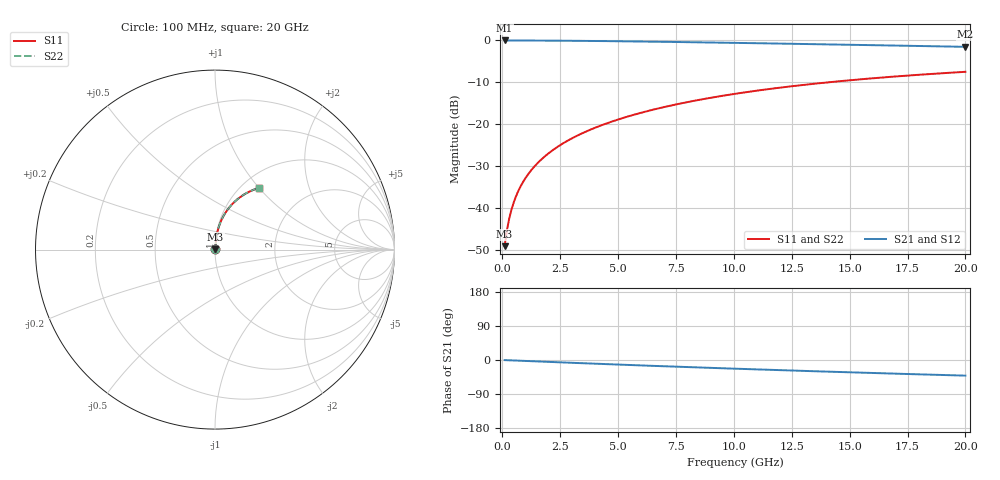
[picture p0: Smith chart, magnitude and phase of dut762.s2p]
! Touchstone file exported from HFSS 2024.1.0
!  File:  C:/UserFiles/LocalFiles/RDL_TSV_Batchsim/temp_RDL_top_762_1779852280.aedt
!  Generated:  11:26:59 AM May 27, 2026
!  Design:  RDL_top
!  Project:  temp_RDL_top_762_1779852280
!  Setup:  Setup1
!  Solution:  Sweep
! Variables:
!  dtsv = 10.80580581um
!  hbump = 3um
!  htsv = 74.45um
!  ldown = 100um
!  lrdl = 533.62um
!  p = 40
!  p1 = 59.22um
!  rhole = 1um
!  t = 450um
!  tdown = 3.915915916um
!  trdl = 4.01um
!  wdown = 15.38538539um
!  wrdl = 19.4um
# GHz S MA R 50.000000
! Terminal data exported
! Port[1] = Box2_T1
! Port[2] = Box2_T2
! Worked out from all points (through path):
!   200 points, 100 MHz to 20 GHz, reference 50 ohm
!   highest |S21| = -0.02 dB at 100 MHz (marker M1); lowest = -1.5 dB at 20 GHz (marker M2)
!   group delay of S21, straight-line fit = 5.69 ps
!   lowest |S11| = -49.1 dB at 100 MHz (marker M3), VSWR 1.01, Z = 50.3 + j0.239 ohm
!   |S11| at or under -10 dB: start of sweep to 14.09 GHz
!   |S22| runs from -49.1 to -7.5 dB; largest |S21 - S12| = 3e-15
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0.1  0.003509 42.6  0.9974 -0.3  0.9974 -0.3  0.003509 42.6
! Gamma 0 0 0 0
! Port Impedance 50 0 50 0
0.2  0.005417 60.2  0.9973 -0.5  0.9973 -0.5  0.005417 60.2
0.3  0.007518 68.0  0.9971 -0.8  0.9971 -0.8  0.007518 68.0
0.4  0.009658 72.3  0.997 -1.0  0.997 -1.0  0.009658 72.3
0.5  0.01181 75.0  0.9968 -1.3  0.9968 -1.3  0.01181 75.0
0.6  0.01398 77.0  0.9967 -1.5  0.9967 -1.5  0.01398 77.0
0.8  0.01834 79.5  0.9963 -2.0  0.9963 -2.0  0.01834 79.5
1.1  0.02494 81.5  0.9958 -2.7  0.9958 -2.7  0.02494 81.5
1.5  0.03382 82.8  0.9948 -3.7  0.9948 -3.7  0.03382 82.9
1.8  0.04053 83.3  0.9938 -4.5  0.9938 -4.5  0.04053 83.3
2.1  0.04726 83.5  0.9928 -5.2  0.9928 -5.2  0.04726 83.5
2.7  0.06082 83.6  0.9902 -6.7  0.9902 -6.7  0.06082 83.6
3.5  0.07907 83.1  0.986 -8.6  0.986 -8.6  0.07907 83.1
4.2  0.09518 82.4  0.9818 -10.2  0.9818 -10.2  0.09519 82.4
5  0.1137 81.4  0.9763 -12.1  0.9763 -12.1  0.1137 81.4
5.9  0.1347 80.1  0.9695 -14.1  0.9695 -14.1  0.1347 80.1
6.8  0.1557 78.6  0.9623 -16.1  0.9623 -16.1  0.1557 78.6
8.4  0.1929 75.8  0.9486 -19.5  0.9486 -19.5  0.1929 75.9
10.1  0.2315 72.7  0.9332 -23.0  0.9332 -23.0  0.2315 72.7
13.4  0.3023 66.4  0.9019 -29.5  0.9019 -29.5  0.3024 66.4
16.7  0.3659 60.3  0.8696 -35.6  0.8696 -35.6  0.366 60.3
20  0.4215 54.6  0.8373 -41.2  0.8373 -41.2  0.4216 54.6
